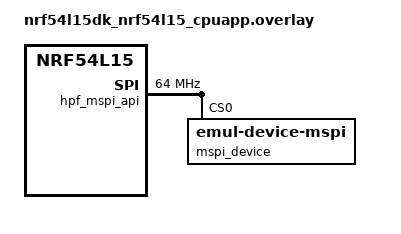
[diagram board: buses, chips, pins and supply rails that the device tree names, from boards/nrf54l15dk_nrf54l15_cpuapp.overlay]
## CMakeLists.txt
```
#
# Copyright (c) 2025 Nordic Semiconductor ASA
#
# SPDX-License-Identifier: LicenseRef-Nordic-5-Clause
#

cmake_minimum_required(VERSION 3.20.0)

find_package(Zephyr REQUIRED HINTS $ENV{ZEPHYR_BASE})
project(mspi_error_cases)

FILE(GLOB app_sources src/*.c)
target_sources(app PRIVATE ${app_sources})
```

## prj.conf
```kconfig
CONFIG_ZTEST=y
CONFIG_MSPI=y
```

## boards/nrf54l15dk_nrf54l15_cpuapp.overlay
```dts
/*
 * Copyright (c) 2025 Nordic Semiconductor ASA
 *
 * SPDX-License-Identifier: LicenseRef-Nordic-5-Clause
 */

/ {
	aliases {
		mspi0 = &hpf_mspi_api;
	};
};

&cpuflpr_vpr {
	status = "okay";

	hpf_mspi_api: hpf_mspi_api {
		compatible = "nordic,hpf-mspi-controller";
		#address-cells = <1>;
		#size-cells = <0>;
		clock-frequency = <DT_FREQ_M(64)>;
		pinctrl-0 = <&hpf_mspi_default>;
		pinctrl-1 = <&hpf_mspi_sleep>;
		pinctrl-names = "default", "sleep";
		status = "okay";

		mspi_device: mspi_device@0 {
			status = "okay";
			compatible = "zephyr,emul-device-mspi";
			reg = <0x0>;
			mspi-max-frequency = <DT_FREQ_M(1)>;
			mspi-io-mode = "MSPI_IO_MODE_SINGLE";
			mspi-data-rate = "MSPI_DATA_RATE_SINGLE";
			mspi-hardware-ce-num = <0>;
			mspi-cpp-mode = "MSPI_CPP_MODE_0";
			mspi-endian = "MSPI_BIG_ENDIAN";
			mspi-ce-polarity = "MSPI_CE_ACTIVE_LOW";
		};
	};
};
```

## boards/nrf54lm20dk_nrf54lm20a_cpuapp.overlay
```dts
/*
 * Copyright (c) 2026 Nordic Semiconductor ASA
 *
 * SPDX-License-Identifier: LicenseRef-Nordic-5-Clause
 */

/ {
	aliases {
		mspi0 = &hpf_mspi_api;
	};
};

&cpuflpr_vpr {
	status = "okay";

	hpf_mspi_api: hpf_mspi_api {
		compatible = "nordic,hpf-mspi-controller";
		#address-cells = <1>;
		#size-cells = <0>;
		clock-frequency = <DT_FREQ_M(64)>;
		pinctrl-0 = <&hpf_mspi_default>;
		pinctrl-1 = <&hpf_mspi_sleep>;
		pinctrl-names = "default", "sleep";
		status = "okay";

		mspi_device: mspi_device@0 {
			status = "okay";
			compatible = "zephyr,emul-device-mspi";
			reg = <0x0>;
			mspi-max-frequency = <DT_FREQ_M(1)>;
			mspi-io-mode = "MSPI_IO_MODE_SINGLE";
			mspi-data-rate = "MSPI_DATA_RATE_SINGLE";
			mspi-hardware-ce-num = <0>;
			mspi-cpp-mode = "MSPI_CPP_MODE_0";
			mspi-endian = "MSPI_BIG_ENDIAN";
			mspi-ce-polarity = "MSPI_CE_ACTIVE_LOW";
		};
	};
};
```

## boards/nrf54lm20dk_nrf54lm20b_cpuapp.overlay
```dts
/*
 * Copyright (c) 2026 Nordic Semiconductor ASA
 *
 * SPDX-License-Identifier: LicenseRef-Nordic-5-Clause
 */

#include "nrf54lm20dk_nrf54lm20a_cpuapp.overlay"
```

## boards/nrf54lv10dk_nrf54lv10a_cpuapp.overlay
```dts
/*
 * Copyright (c) 2026 Nordic Semiconductor ASA
 *
 * SPDX-License-Identifier: LicenseRef-Nordic-5-Clause
 */

/ {
	aliases {
		mspi0 = &hpf_mspi_api;
	};
};

&cpuflpr_vpr {
	status = "okay";

	hpf_mspi_api: hpf_mspi_api {
		compatible = "nordic,hpf-mspi-controller";
		#address-cells = <1>;
		#size-cells = <0>;
		clock-frequency = <DT_FREQ_M(64)>;
		pinctrl-0 = <&hpf_mspi_default>;
		pinctrl-1 = <&hpf_mspi_sleep>;
		pinctrl-names = "default", "sleep";
		status = "okay";

		mspi_device: mspi_device@0 {
			status = "okay";
			compatible = "zephyr,mspi-emul-device";
			reg = <0x0>;
			mspi-max-frequency = <DT_FREQ_M(1)>;
			mspi-io-mode = "MSPI_IO_MODE_SINGLE";
			mspi-data-rate = "MSPI_DATA_RATE_SINGLE";
			mspi-hardware-ce-num = <0>;
			mspi-cpp-mode = "MSPI_CPP_MODE_0";
			mspi-endian = "MSPI_BIG_ENDIAN";
			mspi-ce-polarity = "MSPI_CE_ACTIVE_LOW";
		};
	};
};
```

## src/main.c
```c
/*
 * Copyright (c) 2025 Nordic Semiconductor
 *
 * SPDX-License-Identifier: LicenseRef-Nordic-5-Clause
 */

#include <zephyr/device.h>
#include <zephyr/drivers/gpio.h>
#include <zephyr/drivers/mspi.h>
#include <zephyr/drivers/mspi_emul.h>
#include <zephyr/ztest.h>

#define MSPI_BUS_NODE       DT_ALIAS(mspi0)

static const struct device *mspi_bus = DEVICE_DT_GET(MSPI_BUS_NODE);

static struct gpio_dt_spec ce_gpios[] = MSPI_CE_GPIOS_DT_SPEC_GET(MSPI_BUS_NODE);

static struct mspi_dev_id dev_id[] = {
	DT_FOREACH_CHILD_STATUS_OKAY_SEP(MSPI_BUS_NODE, MSPI_DEVICE_ID_DT, (,))
};

static struct mspi_dev_cfg device_cfg[] = {
	DT_FOREACH_CHILD_STATUS_OKAY_SEP(MSPI_BUS_NODE, MSPI_DEVICE_CONFIG_DT, (,))
};

static const struct mspi_cfg default_hw_cfg = {
	.channel_num      = 0,
	.op_mode          = DT_ENUM_IDX_OR(MSPI_BUS_NODE, op_mode, MSPI_OP_MODE_CONTROLLER),
	.duplex           = MSPI_HALF_DUPLEX,
	.dqs_support      = DT_PROP_OR(MSPI_BUS_NODE, dqs_support, false),
	.sw_multi_periph  = DT_PROP_OR(MSPI_BUS_NODE, sw_multi_periph, false),
	.ce_group         = ce_gpios,
	.num_ce_gpios     = ARRAY_SIZE(ce_gpios),
	.num_periph       = DT_CHILD_NUM(MSPI_BUS_NODE),
	.max_freq         = DT_PROP(MSPI_BUS_NODE, clock_frequency),
	.re_init          = true,
};

uint8_t memc_write_buffer[256];

static struct mspi_xfer_packet packet1[] = {
	{
		.dir          = MSPI_TX,
		.cmd          = 0x12,
		.address      = 0,
		.num_bytes    = 256,
		.data_buf     = memc_write_buffer,
		.cb_mask      = MSPI_BUS_NO_CB,
	},
};

static struct mspi_xfer default_xfer = {
	.async            = false,
	.xfer_mode        = MSPI_PIO,
	.tx_dummy         = 0,
	.cmd_length       = 1,
	.addr_length      = 3,
	.priority         = 1,
	.packets          = (struct mspi_xfer_packet *)&packet1,
	.num_packet       = sizeof(packet1) / sizeof(struct mspi_xfer_packet),
};

static int ret;

/* Helper function. */
void check_mspi_config(struct mspi_cfg *hw_cfg, int expected)
{

	const struct mspi_dt_spec spec = {
		.bus    = mspi_bus,
		.config = *hw_cfg,
	};

	ret = mspi_config(&spec);
	zassert_equal(ret, expected, "Got unexpected %d instead of %d", ret, expected);
}

ZTEST(mspi_error_cases, test_01a_MSPI_OP_MODE_CONTROLLER)
{
	struct mspi_cfg hw_cfg = default_hw_cfg;

	hw_cfg.op_mode = MSPI_OP_MODE_CONTROLLER;

	check_mspi_config(&hw_cfg, 0);
}

ZTEST(mspi_error_cases, test_01b_MSPI_OP_MODE_PERIPHERAL)
{
	struct mspi_cfg hw_cfg = default_hw_cfg;

	hw_cfg.op_mode = MSPI_OP_MODE_PERIPHERAL;

	check_mspi_config(&hw_cfg, -ENOTSUP);
}

ZTEST(mspi_error_cases, test_02a_MSPI_HALF_DUPLEX)
{
	struct mspi_cfg hw_cfg = default_hw_cfg;

	hw_cfg.duplex = MSPI_HALF_DUPLEX;

	check_mspi_config(&hw_cfg, 0);
}

ZTEST(mspi_error_cases, test_02b_MSPI_FULL_DUPLEX)
{
	struct mspi_cfg hw_cfg = default_hw_cfg;

	hw_cfg.duplex = MSPI_FULL_DUPLEX;

	check_mspi_config(&hw_cfg, -ENOTSUP);
}

ZTEST(mspi_error_cases, test_03a_dqs_support_true)
{
	struct mspi_cfg hw_cfg = default_hw_cfg;

	hw_cfg.dqs_support = true;

	check_mspi_config(&hw_cfg, -ENOTSUP);
}

ZTEST(mspi_error_cases, test_03b_dqs_support_false)
{
	struct mspi_cfg hw_cfg = default_hw_cfg;

	hw_cfg.dqs_support = false;

	check_mspi_config(&hw_cfg, 0);
}

ZTEST(mspi_error_cases, test_04a_sw_multi_periph_true)
{
	struct mspi_cfg hw_cfg = default_hw_cfg;

	hw_cfg.sw_multi_periph = true;

	check_mspi_config(&hw_cfg, 0);
}

ZTEST(mspi_error_cases, test_05a_num_ce_gpios_max)
{
	struct mspi_cfg hw_cfg = default_hw_cfg;

	hw_cfg.num_ce_gpios = UINT32_MAX;

	check_mspi_config(&hw_cfg, -EINVAL);
}

ZTEST(mspi_error_cases, test_06a_num_periph_max)
{
	struct mspi_cfg hw_cfg = default_hw_cfg;

	hw_cfg.num_periph = UINT32_MAX;

	check_mspi_config(&hw_cfg, -EINVAL);
}

ZTEST(mspi_error_cases, test_07a_max_freq_max)
{
	struct mspi_cfg hw_cfg = default_hw_cfg;

	hw_cfg.max_freq = UINT32_MAX;

	check_mspi_config(&hw_cfg, -ENOTSUP);
}

ZTEST(mspi_error_cases, test_08a_re_init_true)
{
	struct mspi_cfg hw_cfg = default_hw_cfg;

	hw_cfg.re_init = true;

	check_mspi_config(&hw_cfg, 0);
}

ZTEST(mspi_error_cases, test_08b_re_init_false)
{
	struct mspi_cfg hw_cfg = default_hw_cfg;

	hw_cfg.re_init = false;

	check_mspi_config(&hw_cfg, 0);
}

void check_mspi_dev_config(const enum mspi_dev_cfg_mask param_mask,
		const struct mspi_dev_cfg *cfg,
		int expected)
{
	const struct mspi_dt_spec spec = {
		.bus    = mspi_bus,
		.config = default_hw_cfg,
	};

	ret = mspi_config(&spec);
	zassert_equal(ret, 0, "Got unexpected %d instead of 0", ret);

	ret = mspi_dev_config(mspi_bus, &dev_id[0], param_mask, cfg);
	zassert_equal(ret, expected, "Got unexpected %d instead of %d", ret, expected);
}

ZTEST(mspi_error_cases, test_09a_MSPI_DEVICE_CONFIG_NONE)
{
	check_mspi_dev_config(MSPI_DEVICE_CONFIG_NONE, &device_cfg[0], 0);
}

ZTEST(mspi_error_cases, test_10a_MSPI_DEVICE_CONFIG_CE_NUM_MAX)
{
	struct mspi_dev_cfg dev_cfg = device_cfg[0];

	dev_cfg.ce_num = UINT8_MAX;

	check_mspi_dev_config(MSPI_DEVICE_CONFIG_CE_NUM, &dev_cfg, -EINVAL);
}

ZTEST(mspi_error_cases, test_11a_MSPI_DEVICE_CONFIG_FREQUENCY_MAX)
{
	struct mspi_dev_cfg dev_cfg = device_cfg[0];

	dev_cfg.freq = UINT32_MAX;

	check_mspi_dev_config(MSPI_DEVICE_CONFIG_FREQUENCY, &dev_cfg, -EINVAL);
}

ZTEST(mspi_error_cases, test_11b_MSPI_DEVICE_CONFIG_FREQUENCY_MIN)
{
	struct mspi_dev_cfg dev_cfg = device_cfg[0];

	dev_cfg.freq = 1;

	check_mspi_dev_config(MSPI_DEVICE_CONFIG_FREQUENCY, &dev_cfg, -EINVAL);
}

ZTEST(mspi_error_cases, test_12a_MSPI_DEVICE_CONFIG_IO_MODE_eq_MSPI_IO_MODE_SINGLE)
{
	struct mspi_dev_cfg dev_cfg = device_cfg[0];

	dev_cfg.io_mode = MSPI_IO_MODE_SINGLE;

	check_mspi_dev_config(MSPI_DEVICE_CONFIG_IO_MODE, &dev_cfg, 0);
}

ZTEST(mspi_error_cases, test_12b_MSPI_DEVICE_CONFIG_IO_MODE_eq_MSPI_IO_MODE_DUAL)
{
	struct mspi_dev_cfg dev_cfg = device_cfg[0];

	dev_cfg.io_mode = MSPI_IO_MODE_DUAL;

	check_mspi_dev_config(MSPI_DEVICE_CONFIG_IO_MODE, &dev_cfg, -ENOTSUP);
}

ZTEST(mspi_error_cases, test_12c_MSPI_DEVICE_CONFIG_IO_MODE_eq_MSPI_IO_MODE_DUAL_1_1_2)
{
	struct mspi_dev_cfg dev_cfg = device_cfg[0];

	dev_cfg.io_mode = MSPI_IO_MODE_DUAL_1_1_2;

	check_mspi_dev_config(MSPI_DEVICE_CONFIG_IO_MODE, &dev_cfg, -ENOTSUP);
}

ZTEST(mspi_error_cases, test_12d_MSPI_DEVICE_CONFIG_IO_MODE_eq_MSPI_IO_MODE_DUAL_1_2_2)
{
	struct mspi_dev_cfg dev_cfg = device_cfg[0];

	dev_cfg.io_mode = MSPI_IO_MODE_DUAL_1_2_2;

	check_mspi_dev_config(MSPI_DEVICE_CONFIG_IO_MODE, &dev_cfg, -ENOTSUP);
}

ZTEST(mspi_error_cases, test_12e_MSPI_DEVICE_CONFIG_IO_MODE_eq_MSPI_IO_MODE_QUAD)
{
	struct mspi_dev_cfg dev_cfg = device_cfg[0];

	dev_cfg.io_mode = MSPI_IO_MODE_QUAD;

	check_mspi_dev_config(MSPI_DEVICE_CONFIG_IO_MODE, &dev_cfg, 0);
}

ZTEST(mspi_error_cases, test_12f_MSPI_DEVICE_CONFIG_IO_MODE_eq_MSPI_IO_MODE_QUAD_1_1_4)
{
	struct mspi_dev_cfg dev_cfg = device_cfg[0];

	dev_cfg.io_mode = MSPI_IO_MODE_QUAD_1_1_4;

	check_mspi_dev_config(MSPI_DEVICE_CONFIG_IO_MODE, &dev_cfg, 0);
}

ZTEST(mspi_error_cases, test_12g_MSPI_DEVICE_CONFIG_IO_MODE_eq_MSPI_IO_MODE_QUAD_1_4_4)
{
	struct mspi_dev_cfg dev_cfg = device_cfg[0];

	dev_cfg.io_mode = MSPI_IO_MODE_QUAD_1_4_4;

	check_mspi_dev_config(MSPI_DEVICE_CONFIG_IO_MODE, &dev_cfg, 0);
}

ZTEST(mspi_error_cases, test_12h_MSPI_DEVICE_CONFIG_IO_MODE_eq_MSPI_IO_MODE_OCTAL)
{
	struct mspi_dev_cfg dev_cfg = device_cfg[0];

	dev_cfg.io_mode = MSPI_IO_MODE_OCTAL;

	check_mspi_dev_config(MSPI_DEVICE_CONFIG_IO_MODE, &dev_cfg, -ENOTSUP);
}

ZTEST(mspi_error_cases, test_12i_MSPI_DEVICE_CONFIG_IO_MODE_eq_MSPI_IO_MODE_OCTAL_1_1_8)
{
	struct mspi_dev_cfg dev_cfg = device_cfg[0];

	dev_cfg.io_mode = MSPI_IO_MODE_OCTAL_1_1_8;

	check_mspi_dev_config(MSPI_DEVICE_CONFIG_IO_MODE, &dev_cfg, -ENOTSUP);
}

ZTEST(mspi_error_cases, test_12j_MSPI_DEVICE_CONFIG_IO_MODE_eq_MSPI_IO_MODE_OCTAL_1_8_8)
{
	struct mspi_dev_cfg dev_cfg = device_cfg[0];

	dev_cfg.io_mode = MSPI_IO_MODE_OCTAL_1_8_8;

	check_mspi_dev_config(MSPI_DEVICE_CONFIG_IO_MODE, &dev_cfg, -ENOTSUP);
}

ZTEST(mspi_error_cases, test_12k_MSPI_DEVICE_CONFIG_IO_MODE_eq_MSPI_IO_MODE_HEX)
{
	struct mspi_dev_cfg dev_cfg = device_cfg[0];

	dev_cfg.io_mode = MSPI_IO_MODE_HEX;

	check_mspi_dev_config(MSPI_DEVICE_CONFIG_IO_MODE, &dev_cfg, -ENOTSUP);
}

ZTEST(mspi_error_cases, test_12l_MSPI_DEVICE_CONFIG_IO_MODE_eq_MSPI_IO_MODE_HEX_8_8_16)
{
	struct mspi_dev_cfg dev_cfg = device_cfg[0];

	dev_cfg.io_mode = MSPI_IO_MODE_HEX_8_8_16;

	check_mspi_dev_config(MSPI_DEVICE_CONFIG_IO_MODE, &dev_cfg, -ENOTSUP);
}

ZTEST(mspi_error_cases, test_12m_MSPI_DEVICE_CONFIG_IO_MODE_eq_MSPI_IO_MODE_HEX_8_16_16)
{
	struct mspi_dev_cfg dev_cfg = device_cfg[0];

	dev_cfg.io_mode = MSPI_IO_MODE_HEX_8_16_16;

	check_mspi_dev_config(MSPI_DEVICE_CONFIG_IO_MODE, &dev_cfg, -ENOTSUP);
}

ZTEST(mspi_error_cases, test_13a_MSPI_DEVICE_CONFIG_DATA_RATE_eq_MSPI_DATA_RATE_SINGLE)
{
	struct mspi_dev_cfg dev_cfg = device_cfg[0];

	dev_cfg.data_rate = MSPI_DATA_RATE_SINGLE;

	check_mspi_dev_config(MSPI_DEVICE_CONFIG_DATA_RATE, &dev_cfg, 0);
}

ZTEST(mspi_error_cases, test_13b_MSPI_DEVICE_CONFIG_DATA_RATE_eq_MSPI_DATA_RATE_S_S_D)
{
	struct mspi_dev_cfg dev_cfg = device_cfg[0];

	dev_cfg.data_rate = MSPI_DATA_RATE_S_S_D;

	check_mspi_dev_config(MSPI_DEVICE_CONFIG_DATA_RATE, &dev_cfg, -ENOTSUP);
}

ZTEST(mspi_error_cases, test_13c_MSPI_DEVICE_CONFIG_DATA_RATE_eq_MSPI_DATA_RATE_S_D_D)
{
	struct mspi_dev_cfg dev_cfg = device_cfg[0];

	dev_cfg.data_rate = MSPI_DATA_RATE_S_D_D;

	check_mspi_dev_config(MSPI_DEVICE_CONFIG_DATA_RATE, &dev_cfg, -ENOTSUP);
}

ZTEST(mspi_error_cases, test_13d_MSPI_DEVICE_CONFIG_DATA_RATE_eq_MSPI_DATA_RATE_DUAL)
{
	struct mspi_dev_cfg dev_cfg = device_cfg[0];

	dev_cfg.data_rate = MSPI_DATA_RATE_DUAL;

	check_mspi_dev_config(MSPI_DEVICE_CONFIG_DATA_RATE, &dev_cfg, -ENOTSUP);
}

ZTEST(mspi_error_cases, test_14a_MSPI_DEVICE_CONFIG_CPP_eq_MSPI_CPP_MODE_0)
{
	struct mspi_dev_cfg dev_cfg = device_cfg[0];

	dev_cfg.cpp = MSPI_CPP_MODE_0;

	check_mspi_dev_config(MSPI_DEVICE_CONFIG_CPP, &dev_cfg, 0);
}

ZTEST(mspi_error_cases, test_14b_MSPI_DEVICE_CONFIG_CPP_eq_MSPI_CPP_MODE_1)
{
	struct mspi_dev_cfg dev_cfg = device_cfg[0];

	dev_cfg.cpp = MSPI_CPP_MODE_1;

	check_mspi_dev_config(MSPI_DEVICE_CONFIG_CPP, &dev_cfg, -ENOTSUP);
}

ZTEST(mspi_error_cases, test_14c_MSPI_DEVICE_CONFIG_CPP_eq_MSPI_CPP_MODE_2)
{
	struct mspi_dev_cfg dev_cfg = device_cfg[0];

	dev_cfg.cpp = MSPI_CPP_MODE_2;

	check_mspi_dev_config(MSPI_DEVICE_CONFIG_CPP, &dev_cfg, -ENOTSUP);
}

ZTEST(mspi_error_cases, test_14d_MSPI_DEVICE_CONFIG_CPP_eq_MSPI_CPP_MODE_3)
{
	struct mspi_dev_cfg dev_cfg = device_cfg[0];

	dev_cfg.cpp = MSPI_CPP_MODE_3;

	check_mspi_dev_config(MSPI_DEVICE_CONFIG_CPP, &dev_cfg, 0);
}

ZTEST(mspi_error_cases, test_15a_MSPI_DEVICE_CONFIG_ENDIAN_eq_MSPI_XFER_LITTLE_ENDIAN)
{
	struct mspi_dev_cfg dev_cfg = device_cfg[0];

	dev_cfg.endian = MSPI_XFER_LITTLE_ENDIAN;

	check_mspi_dev_config(MSPI_DEVICE_CONFIG_ENDIAN, &dev_cfg, -ENOTSUP);
}

ZTEST(mspi_error_cases, test_15b_MSPI_DEVICE_CONFIG_ENDIAN_eq_MSPI_XFER_BIG_ENDIAN)
{
	struct mspi_dev_cfg dev_cfg = device_cfg[0];

	dev_cfg.endian = MSPI_XFER_BIG_ENDIAN;

	check_mspi_dev_config(MSPI_DEVICE_CONFIG_ENDIAN, &dev_cfg, 0);
}

ZTEST(mspi_error_cases, test_16a_MSPI_DEVICE_CONFIG_CE_POL_eq_MSPI_CE_ACTIVE_LOW)
{
	struct mspi_dev_cfg dev_cfg = device_cfg[0];

	dev_cfg.ce_polarity = MSPI_CE_ACTIVE_LOW;

	check_mspi_dev_config(MSPI_DEVICE_CONFIG_CE_POL, &dev_cfg, 0);
}

ZTEST(mspi_error_cases, test_16b_MSPI_DEVICE_CONFIG_CE_POL_eq_MSPI_CE_ACTIVE_HIGH)
{
	struct mspi_dev_cfg dev_cfg = device_cfg[0];

	dev_cfg.ce_polarity = MSPI_CE_ACTIVE_HIGH;

	check_mspi_dev_config(MSPI_DEVICE_CONFIG_CE_POL, &dev_cfg, 0);
}

ZTEST(mspi_error_cases, test_17a_MSPI_DEVICE_CONFIG_DQS_true)
{
	struct mspi_dev_cfg dev_cfg = device_cfg[0];

	dev_cfg.dqs_enable = true;

	check_mspi_dev_config(MSPI_DEVICE_CONFIG_DQS, &dev_cfg, -ENOTSUP);
}

ZTEST(mspi_error_cases, test_17b_MSPI_DEVICE_CONFIG_DQS_false)
{
	struct mspi_dev_cfg dev_cfg = device_cfg[0];

	dev_cfg.dqs_enable = false;

	check_mspi_dev_config(MSPI_DEVICE_CONFIG_DQS, &dev_cfg, 0);
}

ZTEST(mspi_error_cases, test_18a_MSPI_DEVICE_CONFIG_RX_DUMMY_MAX)
{
	struct mspi_dev_cfg dev_cfg = device_cfg[0];

	dev_cfg.rx_dummy = UINT16_MAX;

	check_mspi_dev_config(MSPI_DEVICE_CONFIG_RX_DUMMY, &dev_cfg, -ENOTSUP);
}

ZTEST(mspi_error_cases, test_19a_MSPI_DEVICE_CONFIG_TX_DUMMY_MAX)
{
	struct mspi_dev_cfg dev_cfg = device_cfg[0];

	dev_cfg.tx_dummy = UINT16_MAX;

	check_mspi_dev_config(MSPI_DEVICE_CONFIG_TX_DUMMY, &dev_cfg, -ENOTSUP);
}

ZTEST(mspi_error_cases, test_20a_MSPI_DEVICE_CONFIG_MEM_BOUND_MAX)
{
	struct mspi_dev_cfg dev_cfg = device_cfg[0];

	dev_cfg.mem_boundary = UINT32_MAX;

	check_mspi_dev_config(MSPI_DEVICE_CONFIG_MEM_BOUND, &dev_cfg, -ENOTSUP);
}

ZTEST(mspi_error_cases, test_21a_MSPI_DEVICE_CONFIG_BREAK_TIME_MAX)
{
	struct mspi_dev_cfg dev_cfg = device_cfg[0];

	dev_cfg.time_to_break = UINT32_MAX;

	check_mspi_dev_config(MSPI_DEVICE_CONFIG_BREAK_TIME, &dev_cfg, -ENOTSUP);
}

void check_mspi_transceive(const struct mspi_xfer *xfer, int expected)
{
	const struct mspi_dt_spec spec = {
		.bus    = mspi_bus,
		.config = default_hw_cfg,
	};

	ret = mspi_config(&spec);
	zassert_equal(ret, 0, "Got unexpected %d instead of 0", ret);

	ret = mspi_dev_config(mspi_bus, &dev_id[0], MSPI_DEVICE_CONFIG_ALL, &device_cfg[0]);
	zassert_equal(ret, 0, "Got unexpected %d instead of 0", ret);

	ret = mspi_transceive(mspi_bus, &dev_id[0], xfer);
	zassert_equal(ret, expected, "Got unexpected %d instead of %d", ret, expected);
}

ZTEST(mspi_error_cases, test_22a_mspi_xfer_async_true)
{
	struct mspi_xfer xfer = default_xfer;

	xfer.async = true;

	check_mspi_transceive(&xfer, -ENOTSUP);
}

ZTEST(mspi_error_cases, test_22a_mspi_xfer_async_false)
{
	struct mspi_xfer xfer = default_xfer;

	xfer.async = false;

	check_mspi_transceive(&xfer, 0);
}

ZTEST(mspi_error_cases, test_23a_mspi_xfer_MSPI_PIO)
{
	struct mspi_xfer xfer = default_xfer;

	xfer.xfer_mode = MSPI_PIO;

	check_mspi_transceive(&xfer, 0);
}

ZTEST(mspi_error_cases, test_23b_mspi_xfer_MSPI_DMA)
{
	struct mspi_xfer xfer = default_xfer;

	xfer.xfer_mode = MSPI_DMA;

	check_mspi_transceive(&xfer, -ENOTSUP);
}

ZTEST(mspi_error_cases, test_24a_mspi_xfer_tx_dummy_max)
{
	struct mspi_xfer xfer = default_xfer;

	xfer.tx_dummy = UINT16_MAX;

	check_mspi_transceive(&xfer, -ENOTSUP);
}

ZTEST(mspi_error_cases, test_25a_mspi_xfer_rx_dummy_max)
{
	struct mspi_xfer xfer = default_xfer;

	xfer.rx_dummy = UINT16_MAX;

	check_mspi_transceive(&xfer, -ENOTSUP);
}

ZTEST(mspi_error_cases, test_26a_mspi_xfer_cmd_length_max)
{
	struct mspi_xfer xfer = default_xfer;

	xfer.cmd_length = UINT8_MAX;

	check_mspi_transceive(&xfer, 0);
}

ZTEST(mspi_error_cases, test_27a_mspi_xfer_addr_length_max)
{
	struct mspi_xfer xfer = default_xfer;

	xfer.addr_length = UINT8_MAX;

	check_mspi_transceive(&xfer, 0);
}

ZTEST(mspi_error_cases, test_28a_mspi_xfer_hold_ce_true)
{
	struct mspi_xfer xfer = default_xfer;

	xfer.hold_ce = true;

	check_mspi_transceive(&xfer, 0);
}

ZTEST(mspi_error_cases, test_28b_mspi_xfer_hold_ce_false)
{
	struct mspi_xfer xfer = default_xfer;

	xfer.hold_ce = false;

	check_mspi_transceive(&xfer, 0);
}

ZTEST(mspi_error_cases, test_30a_mspi_xfer_priority_0)
{
	struct mspi_xfer xfer = default_xfer;

	xfer.priority = 0;

	check_mspi_transceive(&xfer, 0);
}

ZTEST(mspi_error_cases, test_30b_mspi_xfer_priority_1)
{
	struct mspi_xfer xfer = default_xfer;

	xfer.priority = 1;

	check_mspi_transceive(&xfer, 0);
}

ZTEST(mspi_error_cases, test_31a_mspi_xfer_packets_NULL)
{
	struct mspi_xfer xfer = default_xfer;

	xfer.packets = (struct mspi_xfer_packet *) NULL;

	check_mspi_transceive(&xfer, -EFAULT);
}

ZTEST(mspi_error_cases, test_32a_mspi_xfer_num_packet_0)
{
	struct mspi_xfer xfer = default_xfer;

	xfer.num_packet = 0;

	check_mspi_transceive(&xfer, -EFAULT);
}

ZTEST(mspi_error_cases, test_33a_mspi_xfer_timeout_max)
{
	struct mspi_xfer xfer = default_xfer;

	xfer.timeout = UINT32_MAX;

	check_mspi_transceive(&xfer, -EFAULT);
}

ZTEST(mspi_error_cases, test_34a_mspi_xfer_packet_num_bytes_max)
{
	struct mspi_xfer_packet test_packet[] = {
		{
			.dir                = MSPI_TX,
			.cmd                = 0x12,
			.address            = 0,
			.num_bytes          = UINT32_MAX,
			.data_buf           = memc_write_buffer,
			.cb_mask            = MSPI_BUS_NO_CB,
		},
	};

	struct mspi_xfer xfer = default_xfer;

	xfer.packets = (struct mspi_xfer_packet *)&test_packet,

	check_mspi_transceive(&xfer, -EINVAL);
}

ZTEST_SUITE(mspi_error_cases, NULL, NULL, NULL, NULL, NULL);
```

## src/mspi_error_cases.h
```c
/*
 * Copyright (c) 2025 Nordic Semiconductor
 *
 * SPDX-License-Identifier: LicenseRef-Nordic-5-Clause
 */

#ifndef MSPI_ERROR_CASES_H
#define MSPI_ERROR_CASES_H

struct mspi_test_results {
	int    test_01a_MSPI_OP_MODE_CONTROLLER;
	int    test_01b_MSPI_OP_MODE_PERIPHERAL;
	int    test_02a_MSPI_HALF_DUPLEX;
	int    test_02b_MSPI_FULL_DUPLEX;
	int    test_03a_dqs_support_true;
	int    test_04a_sw_multi_periph_true;
	int    test_05a_num_ce_gpios_max;
	int    test_06a_num_periph_max;
	int    test_07a_max_freq_max;
	int    test_08a_re_init_true;
	int    test_08b_re_init_false;
	int    test_09a_MSPI_DEVICE_CONFIG_NONE;
	int    test_10a_MSPI_DEVICE_CONFIG_CE_NUM_MAX;
	int    test_11a_MSPI_DEVICE_CONFIG_FREQUENCY_MAX;
	int    test_11b_MSPI_DEVICE_CONFIG_FREQUENCY_MIN;
	int    test_12a_MSPI_DEVICE_CONFIG_IO_MODE_eq_MSPI_IO_MODE_SINGLE;
	int    test_12b_MSPI_DEVICE_CONFIG_IO_MODE_eq_MSPI_IO_MODE_DUAL;
	int    test_12c_MSPI_DEVICE_CONFIG_IO_MODE_eq_MSPI_IO_MODE_DUAL_1_1_2;
	int    test_12d_MSPI_DEVICE_CONFIG_IO_MODE_eq_MSPI_IO_MODE_DUAL_1_2_2;
	int    test_12e_MSPI_DEVICE_CONFIG_IO_MODE_eq_MSPI_IO_MODE_QUAD;
	int    test_12f_MSPI_DEVICE_CONFIG_IO_MODE_eq_MSPI_IO_MODE_QUAD_1_1_4;
	int    test_12g_MSPI_DEVICE_CONFIG_IO_MODE_eq_MSPI_IO_MODE_QUAD_1_4_4;
	int    test_12h_MSPI_DEVICE_CONFIG_IO_MODE_eq_MSPI_IO_MODE_OCTAL;
	int    test_12i_MSPI_DEVICE_CONFIG_IO_MODE_eq_MSPI_IO_MODE_OCTAL_1_1_8;
	int    test_12j_MSPI_DEVICE_CONFIG_IO_MODE_eq_MSPI_IO_MODE_OCTAL_1_8_8;
	int    test_12k_MSPI_DEVICE_CONFIG_IO_MODE_eq_MSPI_IO_MODE_HEX;
	int    test_12l_MSPI_DEVICE_CONFIG_IO_MODE_eq_MSPI_IO_MODE_HEX_8_8_16;
	int    test_12m_MSPI_DEVICE_CONFIG_IO_MODE_eq_MSPI_IO_MODE_HEX_8_16_16;
	int    test_13a_MSPI_DEVICE_CONFIG_DATA_RATE_eq_MSPI_DATA_RATE_SINGLE;
	int    test_13b_MSPI_DEVICE_CONFIG_DATA_RATE_eq_MSPI_DATA_RATE_S_S_D;
	int    test_13c_MSPI_DEVICE_CONFIG_DATA_RATE_eq_MSPI_DATA_RATE_S_D_D;
	int    test_13d_MSPI_DEVICE_CONFIG_DATA_RATE_eq_MSPI_DATA_RATE_DUAL;
	int    test_14a_MSPI_DEVICE_CONFIG_CPP_eq_MSPI_CPP_MODE_0;
	int    test_14b_MSPI_DEVICE_CONFIG_CPP_eq_MSPI_CPP_MODE_1;
	int    test_14c_MSPI_DEVICE_CONFIG_CPP_eq_MSPI_CPP_MODE_2;
	int    test_14d_MSPI_DEVICE_CONFIG_CPP_eq_MSPI_CPP_MODE_3;
	int    test_15a_MSPI_DEVICE_CONFIG_ENDIAN_eq_MSPI_XFER_LITTLE_ENDIAN;
	int    test_15b_MSPI_DEVICE_CONFIG_ENDIAN_eq_MSPI_XFER_BIG_ENDIAN;
	int    test_16a_MSPI_DEVICE_CONFIG_CE_POL_eq_MSPI_CE_ACTIVE_LOW;
	int    test_16b_MSPI_DEVICE_CONFIG_CE_POL_eq_MSPI_CE_ACTIVE_HIGH;
	int    test_17a_MSPI_DEVICE_CONFIG_DQS_true;
	int    test_17b_MSPI_DEVICE_CONFIG_DQS_false;
	int    test_18a_MSPI_DEVICE_CONFIG_RX_DUMMY_MAX;
	int    test_19a_MSPI_DEVICE_CONFIG_TX_DUMMY_MAX;
	int    test_20a_MSPI_DEVICE_CONFIG_MEM_BOUND_MAX;
	int    test_21a_MSPI_DEVICE_CONFIG_BREAK_TIME_MAX;
	int    test_22a_mspi_xfer_async_true;
	int    test_23a_mspi_xfer_MSPI_PIO;
	int    test_23b_mspi_xfer_MSPI_DMA;
	int    test_24a_mspi_xfer_tx_dummy_max;
	int    test_25a_mspi_xfer_rx_dummy_max;
	int    test_26a_mspi_xfer_cmd_length_max;
	int    test_27a_mspi_xfer_addr_length_max;
	int    test_28a_mspi_xfer_hold_ce_true;
	int    test_28b_mspi_xfer_hold_ce_false;
	int    test_30a_mspi_xfer_priority_0;
	int    test_30b_mspi_xfer_priority_1;
	int    test_31a_mspi_xfer_packets_NULL;
	int    test_32a_mspi_xfer_num_packet_0;
	int    test_33a_mspi_xfer_timeout_max;
	int    test_34a_mspi_xfer_packet_num_bytes_max;
};

#endif
```
